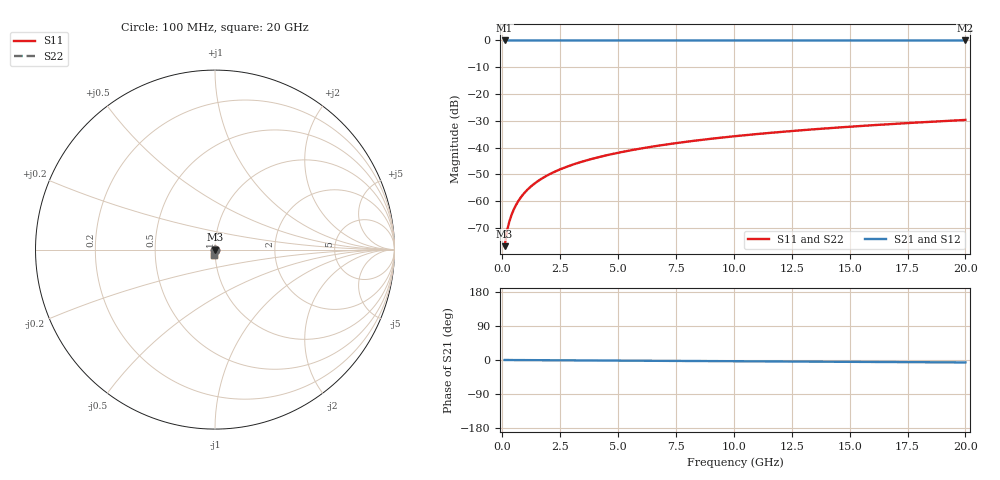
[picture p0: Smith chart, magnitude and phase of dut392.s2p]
! Touchstone file exported from HFSS 2026.1.0
!  File:  C:/ffzhzh/LocalFiles/Ansys_Project_Files/temp_train_TSV_392_1783020108_53980.aedt
!  Generated:  03:23:19 AM Jul  3, 2026
!  Design:  TSV
!  Project:  temp_train_TSV_392_1783020108_53980
! Variables:
!  h_bsmrdl = 2um
!  h_ox = 20um
!  h_rdl = 5um
!  h_sub = 60.83um
!  h_tmrdl = 5um
!  h_tsv = 60.83um
!  h_via = 3um
!  l_bsmrdl = 300um
!  l_sub = 429.06um
!  l_tmrdl = 200um
!  m_sub = 200um
!  pitch = 44.43um
!  r_tsv = 14.53um
!  s_tmrdl = 10um
!  w_bsmrdl = 18um
!  w_sub = 500um
!  w_tmrdl = 12um
!  x_tsv_center1 = 206um
!  x_tsv_center2 = 524um
!  x_tsv_center3 = 736um
!  x_tsv_center4 = 1054um
!  x_tsv_center5 = 1266um
!  x_tsv_center6 = 1584um
# GHz S MA R 50.000000
! Terminal data exported
! Port[1] = TSV1_1_T1
! Port[2] = TSV1_1_T2
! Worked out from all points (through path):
!   200 points, 100 MHz to 20 GHz, reference 50 ohm
!   highest |S21| = 0.00 dB at 100 MHz (marker M1); lowest = 0.0 dB at 20 GHz (marker M2)
!   lowest |S11| = -76.8 dB at 100 MHz (marker M3), VSWR 1.00, Z = 50 - j0.013 ohm
!   |S11| at or under -10 dB: start of sweep to end of sweep
!   |S22| runs from -76.8 to -29.7 dB; largest |S21 - S12| = 2.1e-15
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0.1  0.0001452 -63.5  0.9999 -0.0  0.9999 -0.0  0.0001452 -63.5
! Gamma 0 0 0 0
! Port Impedance 50 0 50 0
0.2  0.000274 -73.9  0.9999 -0.1  0.9999 -0.1  0.000274 -73.9
0.3  0.0004122 -77.0  0.9999 -0.1  0.9999 -0.1  0.0004122 -77.0
0.4  0.0005574 -78.5  0.9999 -0.1  0.9999 -0.1  0.0005574 -78.5
0.5  0.0007082 -79.4  0.9999 -0.2  0.9999 -0.2  0.0007082 -79.4
0.7  0.001021 -80.8  0.9998 -0.2  0.9998 -0.2  0.001021 -80.8
0.8  0.001181 -81.4  0.9998 -0.3  0.9998 -0.3  0.001181 -81.4
1  0.001504 -82.4  0.9998 -0.3  0.9998 -0.3  0.001504 -82.4
1.2  0.001829 -83.2  0.9998 -0.4  0.9998 -0.4  0.001829 -83.2
1.4  0.002154 -84.0  0.9998 -0.5  0.9998 -0.5  0.002154 -84.0
1.7  0.002642 -84.8  0.9997 -0.6  0.9997 -0.6  0.002642 -84.8
2  0.003129 -85.5  0.9997 -0.7  0.9997 -0.7  0.003129 -85.5
2.7  0.004266 -86.6  0.9997 -0.9  0.9997 -0.9  0.004266 -86.6
3.5  0.005568 -87.5  0.9996 -1.1  0.9996 -1.1  0.005568 -87.5
4.2  0.006711 -88.1  0.9996 -1.4  0.9996 -1.4  0.006711 -88.0
5  0.008022 -88.6  0.9995 -1.6  0.9995 -1.6  0.008022 -88.6
6.8  0.01099 -89.6  0.9994 -2.2  0.9994 -2.2  0.01099 -89.6
8.3  0.01347 -90.3  0.9994 -2.7  0.9994 -2.7  0.01347 -90.3
10.1  0.01645 -91.1  0.9993 -3.3  0.9993 -3.3  0.01645 -91.1
13.4  0.02192 -92.5  0.9991 -4.3  0.9991 -4.3  0.02192 -92.5
16.7  0.0274 -93.8  0.9988 -5.4  0.9988 -5.4  0.0274 -93.8
20  0.03288 -94.9  0.9986 -6.4  0.9986 -6.4  0.03288 -94.9
